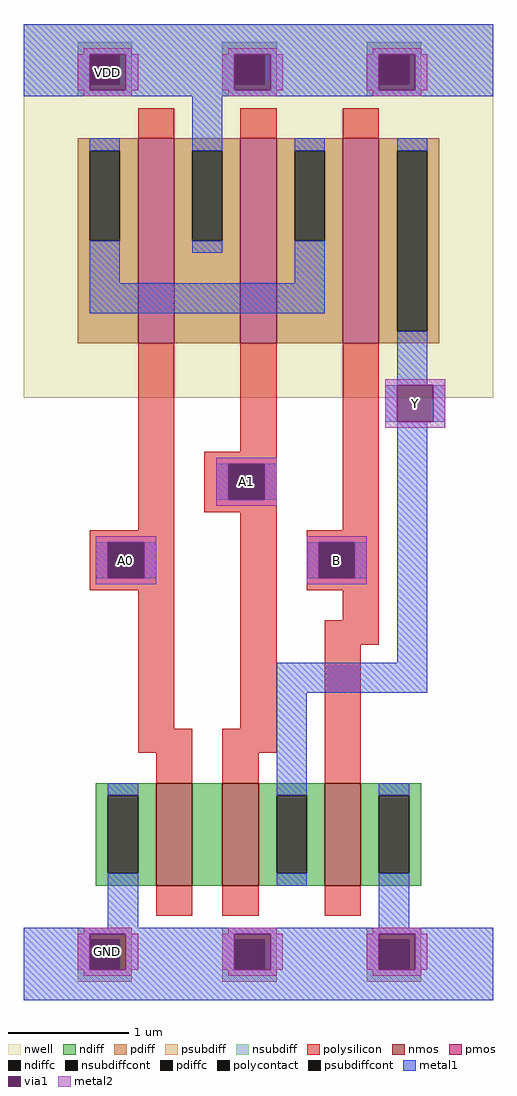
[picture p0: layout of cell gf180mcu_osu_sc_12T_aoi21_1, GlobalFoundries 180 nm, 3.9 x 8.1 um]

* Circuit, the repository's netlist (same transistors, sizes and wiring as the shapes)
.inc "../../char/techfiles/design.hspice"
.lib "../../char/techfiles/sm141064.hspice" typical

.GLOBAL VDD
.GLOBAL GND

.option scale=0.05u

.subckt gf180mcu_osu_sc_12T_aoi21_1 Y A0 A1 B
X0 Y B a_9_106 VDD pmos_3p3 w=34 l=6
X1 a_9_106 A1 VDD VDD pmos_3p3 w=34 l=6
X2 VDD A0 a_9_106 VDD pmos_3p3 w=34 l=6
X3 GND B Y GND nmos_3p3 w=17 l=6
X4 a_28_16 A0 GND GND nmos_3p3 w=17 l=6
X5 Y A1 a_28_16 GND nmos_3p3 w=17 l=6
.ends

** hspice subcircuit dictionary

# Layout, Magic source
magic
tech gf180mcuC
<< nwell >>
rect 0 97 78 159
<< nmos >>
rect 22 16 28 33
rect 33 16 39 33
rect 50 16 56 33
<< pmos >>
rect 19 106 25 140
rect 36 106 42 140
rect 53 106 59 140
<< ndiff >>
rect 12 31 22 33
rect 12 18 14 31
rect 19 18 22 31
rect 12 16 22 18
rect 28 16 33 33
rect 39 31 50 33
rect 39 18 42 31
rect 47 18 50 31
rect 39 16 50 18
rect 56 31 66 33
rect 56 18 59 31
rect 64 18 66 31
rect 56 16 66 18
<< pdiff >>
rect 9 138 19 140
rect 9 123 11 138
rect 16 123 19 138
rect 9 106 19 123
rect 25 138 36 140
rect 25 123 28 138
rect 33 123 36 138
rect 25 106 36 123
rect 42 138 53 140
rect 42 123 45 138
rect 50 123 53 138
rect 42 106 53 123
rect 59 138 69 140
rect 59 108 62 138
rect 67 108 69 138
rect 59 106 69 108
<< ndiffc >>
rect 14 18 19 31
rect 42 18 47 31
rect 59 18 64 31
<< pdiffc >>
rect 11 123 16 138
rect 28 123 33 138
rect 45 123 50 138
rect 62 108 67 138
<< psubdiff >>
rect 9 7 18 9
rect 9 2 11 7
rect 16 2 18 7
rect 9 0 18 2
rect 33 7 42 9
rect 33 2 35 7
rect 40 2 42 7
rect 33 0 42 2
rect 57 7 66 9
rect 57 2 59 7
rect 64 2 66 7
rect 57 0 66 2
<< nsubdiff >>
rect 9 154 18 156
rect 9 149 11 154
rect 16 149 18 154
rect 9 147 18 149
rect 33 154 42 156
rect 33 149 35 154
rect 40 149 42 154
rect 33 147 42 149
rect 57 154 66 156
rect 57 149 59 154
rect 64 149 66 154
rect 57 147 66 149
<< psubdiffcont >>
rect 11 2 16 7
rect 35 2 40 7
rect 59 2 64 7
<< nsubdiffcont >>
rect 11 149 16 154
rect 35 149 40 154
rect 59 149 64 154
<< polysilicon >>
rect 19 140 25 145
rect 36 140 42 145
rect 53 140 59 145
rect 19 75 25 106
rect 36 88 42 106
rect 30 86 42 88
rect 30 80 34 86
rect 40 80 42 86
rect 30 78 42 80
rect 11 73 25 75
rect 11 67 14 73
rect 20 67 25 73
rect 11 65 25 67
rect 19 42 25 65
rect 36 42 42 78
rect 53 75 59 106
rect 47 73 59 75
rect 47 67 49 73
rect 55 67 59 73
rect 47 65 59 67
rect 53 60 59 65
rect 19 38 28 42
rect 22 33 28 38
rect 33 38 42 42
rect 50 56 59 60
rect 33 33 39 38
rect 50 33 56 56
rect 22 11 28 16
rect 33 11 39 16
rect 50 11 56 16
<< polycontact >>
rect 34 80 40 86
rect 14 67 20 73
rect 49 67 55 73
<< metal1 >>
rect 0 154 78 159
rect 0 148 11 154
rect 17 148 35 154
rect 41 148 59 154
rect 65 148 78 154
rect 0 147 78 148
rect 11 138 16 140
rect 11 116 16 123
rect 28 138 33 147
rect 28 121 33 123
rect 45 138 50 140
rect 45 116 50 123
rect 11 111 50 116
rect 62 138 67 140
rect 62 99 67 108
rect 60 93 62 99
rect 68 93 70 99
rect 32 80 34 86
rect 40 80 42 86
rect 12 67 14 73
rect 20 67 22 73
rect 47 67 49 73
rect 55 67 57 73
rect 62 53 67 93
rect 42 48 67 53
rect 14 31 19 33
rect 14 9 19 18
rect 42 31 47 48
rect 42 16 47 18
rect 59 31 64 33
rect 59 9 64 18
rect 0 8 78 9
rect 0 2 11 8
rect 17 2 35 8
rect 41 2 59 8
rect 65 2 78 8
rect 0 -3 78 2
<< via1 >>
rect 11 149 16 154
rect 16 149 17 154
rect 11 148 17 149
rect 35 149 40 154
rect 40 149 41 154
rect 35 148 41 149
rect 59 149 64 154
rect 64 149 65 154
rect 59 148 65 149
rect 62 93 68 99
rect 34 80 40 86
rect 14 67 20 73
rect 49 67 55 73
rect 11 7 17 8
rect 11 2 16 7
rect 16 2 17 7
rect 35 7 41 8
rect 35 2 40 7
rect 40 2 41 7
rect 59 7 65 8
rect 59 2 64 7
rect 64 2 65 7
<< metal2 >>
rect 10 154 18 155
rect 34 154 42 155
rect 58 154 66 155
rect 9 148 11 154
rect 17 148 19 154
rect 33 148 35 154
rect 41 148 43 154
rect 57 148 59 154
rect 65 148 67 154
rect 10 147 18 148
rect 34 147 42 148
rect 58 147 66 148
rect 60 99 70 100
rect 60 93 62 99
rect 68 93 70 99
rect 60 92 70 93
rect 32 86 42 87
rect 32 80 34 86
rect 40 80 42 86
rect 32 79 42 80
rect 12 73 22 74
rect 12 67 14 73
rect 20 67 22 73
rect 12 66 22 67
rect 47 73 57 74
rect 47 67 49 73
rect 55 67 57 73
rect 47 66 57 67
rect 10 8 18 9
rect 34 8 42 9
rect 58 8 66 9
rect 9 2 11 8
rect 17 2 19 8
rect 33 2 35 8
rect 41 2 43 8
rect 57 2 59 8
rect 65 2 67 8
rect 10 1 18 2
rect 34 1 42 2
rect 58 1 66 2
<< labels >>
rlabel metal2 14 5 14 5 1 GND
rlabel metal2 14 151 14 151 1 VDD
rlabel metal2 65 96 65 96 1 Y
port 4 n
rlabel metal2 37 83 37 83 1 A1
port 6 n
rlabel metal2 17 70 17 70 1 A0
port 5 n
rlabel metal2 52 70 52 70 1 B
port 7 n
<< end >>
